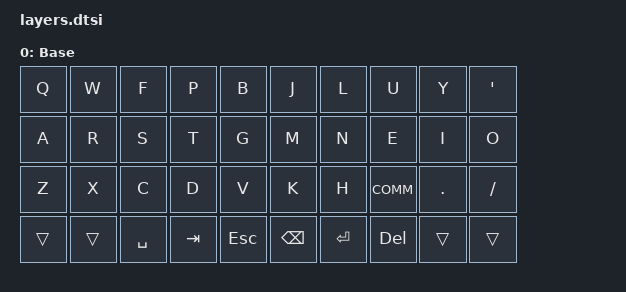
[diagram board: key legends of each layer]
/ {
  keymap {
    compatible = "zmk,keymap";

    base_layer {
      label = "Base";
      bindings = <&kp Q &kp W &kp F &kp P &kp B     &kp J &kp L &kp U &kp Y &kp SQT
                  &kp A &kp R &kp S &kp T &kp G     &kp M &kp N &kp E &kp I &kp O
                  &kp Z &kp X &kp C &kp D &kp V     &kp K &kp H &kp COMM &kp DOT &kp SLASH
                  &trans &trans &kp SPACE &kp TAB &kp ESC     &kp BSPC &kp RET &kp DEL &trans &trans>;
    };
  };
};
